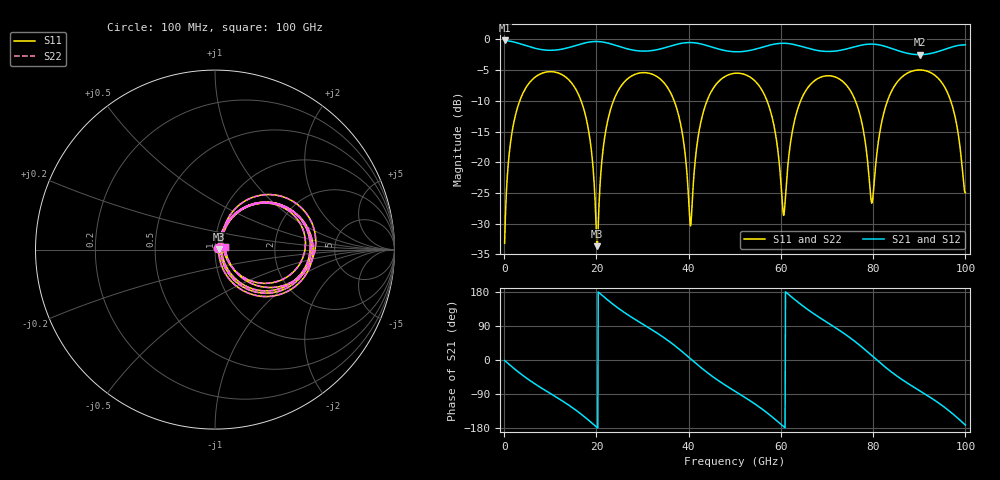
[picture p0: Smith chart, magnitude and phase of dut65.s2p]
! Touchstone file exported from HFSS 2026.1.0
!  File:  C:/ffzhzh/LocalFiles/Ansys_Project_Files/temp_train_TSV_RDL_65_1783448143_50928.aedt
!  Generated:  02:30:42 AM Jul  8, 2026
!  Design:  TSV_RDL
!  Project:  temp_train_TSV_RDL_65_1783448143_50928
! Variables:
!  h_bsmrdl = 2.78um
!  h_ox = 20um
!  h_rdl = 5um
!  h_sub = 85.69um
!  h_tmrdl = 2.01um
!  h_tsv = 85.69um
!  h_via = 3um
!  l_bsmrdl = 136.49um
!  l_sub = 2868.16um
!  l_tmrdl = 480.54um
!  m_sub = 200um
!  pitch = 53.69um
!  r_tsv = 5.32um
!  s_tmrdl = 10um
!  w_bsmrdl = 18.46um
!  w_sub = 500um
!  w_tmrdl = 27.05um
!  x_tsv_center1 = 494.065um
!  x_tsv_center2 = 649.015um
!  x_tsv_center3 = 1156.605um
!  x_tsv_center4 = 1311.555um
!  x_tsv_center5 = 1819.145um
!  x_tsv_center6 = 1974.095um
# GHz S MA R 50.000000
! Terminal data exported
! Port[1] = TM_RDL1_1_T1
! Port[2] = TM_RDL5_1_T1
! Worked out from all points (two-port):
!   1000 points, 100 MHz to 100 GHz, reference 50 ohm
!   highest |S21| = -0.16 dB at 100 MHz (marker M1); lowest = -2.5 dB at 90.1 GHz (marker M2)
!   |S21| within 3 dB of the highest: start of sweep to end of sweep
!   lowest |S11| = -33.7 dB at 20.2 GHz (marker M3), VSWR 1.04, Z = 52.1 + j0.399 ohm
!   |S11| at or under -10 dB: 16.68 GHz to 23.7 GHz (7.013 GHz wide, 34.7 % of centre); 36.85 GHz to 43.98 GHz (7.127 GHz wide, 17.6 % of centre); 57 GHz to 64.29 GHz (7.288 GHz wide, 12 % of centre) (the widest 3 of 6)
!   |S22| runs from -33.8 to -5.0 dB; largest |S21 - S12| = 7e-14
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0.1  0.02187 30.2  0.9813 -1.1  0.9813 -1.1  0.02187 30.2
! Gamma 0 0 0 0
! Port Impedance 50 0 50 0
1.7  0.1746 64.2  0.9609 -18.0  0.9609 -18.0  0.1746 64.2
4.8  0.4088 39.3  0.8885 -47.4  0.8885 -47.4  0.4088 39.3
10.6  0.5451 -4.0  0.8169 -92.7  0.8169 -92.7  0.5451 -4.0
16.8  0.3076 -52.3  0.9221 -144.0  0.9221 -144.0  0.3076 -52.4
20.2  0.02073 10.6  0.9621 -178.6  0.9621 -178.6  0.02045 10.7
24  0.3373 49.5  0.8996 143.4  0.8996 143.4  0.3373 49.5
33.4  0.4909 -20.4  0.829 69.2  0.829 69.2  0.4907 -20.5
37.9  0.2351 -55.3  0.9211 29.1  0.9211 29.1  0.2349 -55.5
40.4  0.03032 2.0  0.9438 3.4  0.9438 3.4  0.02966 2.3
43.6  0.2886 54.9  0.9001 -29.1  0.9001 -29.1  0.2887 55.0
50.1  0.5308 6.2  0.7939 -82.9  0.7939 -82.9  0.5309 6.2
57.1  0.309 -45.5  0.889 -140.3  0.889 -140.3  0.309 -45.8
60.6  0.03691 3.5  0.931 -175.9  0.931 -175.9  0.0348 3.3
63  0.2213 60.1  0.9063 159.4  0.9063 159.4  0.2208 60.7
66.7  0.4415 32.7  0.8317 125.7  0.8317 125.7  0.4413 32.9
75.4  0.364 -30.7  0.8594 55.0  0.8594 55.0  0.3641 -30.5
79.7  0.04648 8.6  0.9166 11.7  0.9166 11.7  0.04757 8.7
83.4  0.3381 56.4  0.8595 -26.3  0.8595 -26.3  0.3382 56.3
90.1  0.5645 8.2  0.7519 -81.3  0.7519 -81.3  0.5645 8.2
96.5  0.3409 -37.7  0.8544 -134.5  0.8544 -134.5  0.3409 -37.7
100  0.05651 12.5  0.9035 -171.6  0.9035 -171.6  0.05674 12.5
